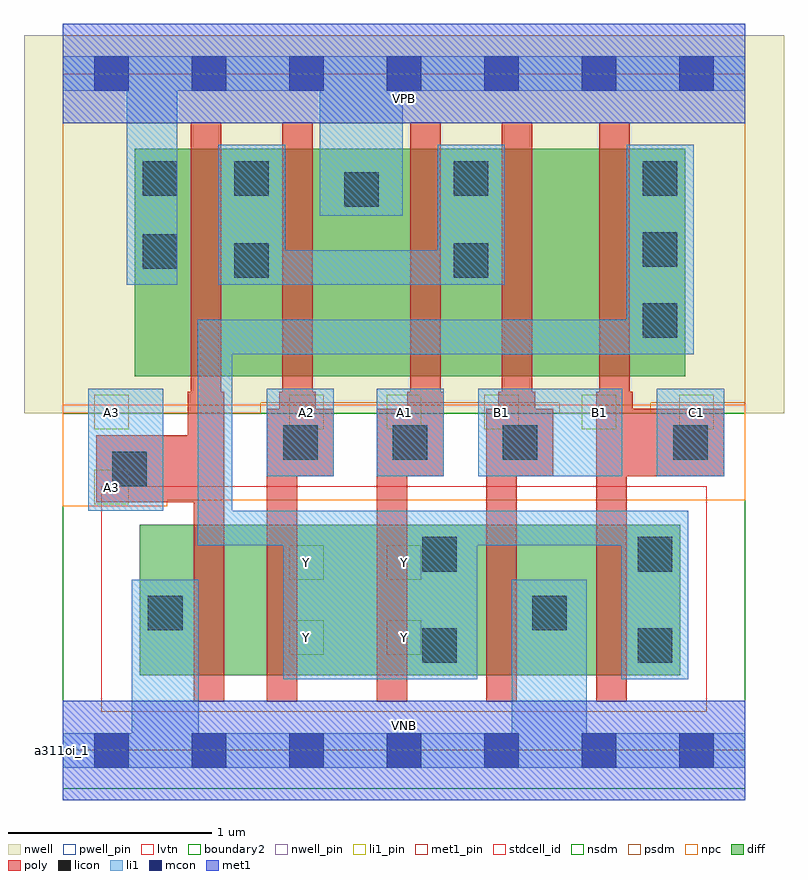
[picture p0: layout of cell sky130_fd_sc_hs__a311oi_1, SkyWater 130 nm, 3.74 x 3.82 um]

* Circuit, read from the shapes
.subckt sky130_fd_sc_hs__a311oi_1 A1 A2 A3 B1 C1 VGND VNB VPB VPWR Y
XM1 n1 A3 VGND VNB sky130_fd_pr__nfet_01v8_lvt w=0.74 l=0.15
XM2 n2 A2 n1 VNB sky130_fd_pr__nfet_01v8_lvt w=0.74 l=0.15
XM3 Y A1 n2 VNB sky130_fd_pr__nfet_01v8_lvt w=0.74 l=0.15
XM4 VGND B1 Y VNB sky130_fd_pr__nfet_01v8_lvt w=0.74 l=0.15
XM5 Y C1 VGND VNB sky130_fd_pr__nfet_01v8_lvt w=0.74 l=0.15
XM6 n3 A3 VPWR VPB sky130_fd_pr__pfet_01v8 w=1.12 l=0.15
XM7 VPWR A2 n3 VPB sky130_fd_pr__pfet_01v8 w=1.12 l=0.15
XM8 n3 A1 VPWR VPB sky130_fd_pr__pfet_01v8 w=1.12 l=0.15
XM9 n4 B1 n3 VPB sky130_fd_pr__pfet_01v8 w=1.12 l=0.15
XM10 Y C1 n4 VPB sky130_fd_pr__pfet_01v8 w=1.12 l=0.15
.ends

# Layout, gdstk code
import gdstk
lib = gdstk.Library(unit=1e-6, precision=1e-09)
def R(c, l, rs):  # rectangles x0, y0, x1, y1
    for r in rs: c.add(gdstk.rectangle(r[:2], r[2:], *l))
def A(c, l, x, y, w, h, nx, ny, dx, dy):  # array of equal rectangles
    R(c, l, [(x+i*dx, y+j*dy, x+i*dx+w, y+j*dy+h) for i in range(nx) for j in range(ny)])
def P(c, l, *ps):  # polygons
    for p in ps: c.add(gdstk.Polygon(p, *l))
nwell_pin = (64, 16)
nwell = (64, 20)
diff = (65, 20)
poly = (66, 20)
licon = (66, 44)
li1_pin = (67, 16)
li1 = (67, 20)
mcon = (67, 44)
met1_pin = (68, 16)
met1 = (68, 20)
stdcell_id = (81, 4)
nsdm = (93, 44)
psdm = (94, 20)
npc = (95, 20)
pwell_pin = (122, 16)
lvtn = (125, 44)
boundary2 = (236, 0)

sky130_fd_sc_hs__a311oi_ = lib.new_cell('sky130_fd_sc_hs__a311oi_1')
R(sky130_fd_sc_hs__a311oi_, nwell_pin, [(0,3.085,3.36,3.33)])
R(sky130_fd_sc_hs__a311oi_, nwell, [(-0.19,1.66,3.55,3.52)])
R(sky130_fd_sc_hs__a311oi_, diff, [(0.38,0.37,3.04,1.11), (0.355,1.84,3.065,2.96)])
P(sky130_fd_sc_hs__a311oi_, poly, [(1.335,1.68),(1.245,1.68),(1.245,1.765),(1.23,1.765),(1.23,3.09),(1.08,3.09),(1.08,1.765),(1.065,1.765),(1.065,1.68),(1.005,1.68),(1.005,0.24),(1.155,0.24),(1.155,1.35),(1.335,1.35)],
  [(1.875,1.765),(1.86,1.765),(1.86,3.09),(1.71,3.09),(1.71,1.765),(1.695,1.765),(1.695,1.68),(1.545,1.68),(1.545,0.24),(1.695,0.24),(1.695,1.35),(1.875,1.35)],
  [(2.415,1.68),(2.325,1.68),(2.325,1.765),(2.31,1.765),(2.31,3.09),(2.16,3.09),(2.16,1.765),(2.145,1.765),(2.145,1.68),(2.085,1.68),(2.085,0.24),(2.235,0.24),(2.235,1.35),(2.415,1.35)],
  [(3.255,1.68),(2.805,1.68),(2.805,1.765),(2.79,1.765),(2.79,3.09),(2.64,3.09),(2.64,1.765),(2.625,1.765),(2.625,0.24),(2.775,0.24),(2.775,1.35),(3.255,1.35)],
  [(0.795,1.765),(0.78,1.765),(0.78,3.09),(0.63,3.09),(0.63,1.765),(0.615,1.765),(0.615,1.55),(0.165,1.55),(0.165,1.22),(0.645,1.22),(0.645,0.24),(0.795,0.24)])
A(sky130_fd_sc_hs__a311oi_, licon, 1.085, 1.43, 0.17, 0.17, 3, 1, 0.54, 0)
A(sky130_fd_sc_hs__a311oi_, licon, 2.855, 2.03, 0.17, 0.17, 1, 3, 0, 0.35)
R(sky130_fd_sc_hs__a311oi_, licon, [(1.77,0.43,1.94,0.6), (2.83,0.43,3,0.6), (0.42,0.59,0.59,0.76), (2.31,0.59,2.48,0.76), (1.77,0.88,1.94,1.05), (2.83,0.88,3,1.05), (0.245,1.3,0.415,1.47), (3.005,1.43,3.175,1.6), (0.845,2.325,1.015,2.495), (1.925,2.325,2.095,2.495), (0.395,2.37,0.565,2.54), (1.385,2.675,1.555,2.845), (0.395,2.73,0.565,2.9), (0.845,2.73,1.015,2.9), (1.925,2.73,2.095,2.9)])
A(sky130_fd_sc_hs__a311oi_, li1_pin, 1.115, 1.58, 0.17, 0.17, 5, 1, 0.48, 0)
R(sky130_fd_sc_hs__a311oi_, li1_pin, [(1.115,0.47,1.285,0.64), (1.595,0.47,1.765,0.64), (1.115,0.84,1.285,1.01), (1.595,0.84,1.765,1.01), (0.155,1.21,0.325,1.38), (0.155,1.58,0.325,1.75)])
R(sky130_fd_sc_hs__a311oi_, li1, [(0.125,1.18,0.495,1.78), (1.005,1.35,1.335,1.78), (1.545,1.35,1.875,1.78), (2.045,1.35,2.755,1.78), (2.925,1.35,3.255,1.78)])
P(sky130_fd_sc_hs__a311oi_, li1, [(0.315,2.29),(0.315,3.245),(0,3.245),(0,3.415),(3.36,3.415),(3.36,3.245),(1.675,3.245),(1.675,2.63),(1.265,2.63),(1.265,3.245),(0.565,3.245),(0.565,2.29)],
  [(0.34,0.085),(0.34,0.84),(0.67,0.84),(0.67,0.085),(2.21,0.085),(2.21,0.84),(2.58,0.84),(2.58,0.085),(3.36,0.085),(3.36,-0.085),(0,-0.085),(0,0.085)],
  [(0.835,1.95),(0.835,1.18),(3.08,1.18),(3.08,0.35),(2.75,0.35),(2.75,1.01),(2.04,1.01),(2.04,0.35),(1.085,0.35),(1.085,1.01),(0.665,1.01),(0.665,2.12),(2.775,2.12),(2.775,2.98),(3.105,2.98),(3.105,1.95)],
  [(1.845,2.46),(1.845,2.98),(2.175,2.98),(2.175,2.29),(0.765,2.29),(0.765,2.98),(1.095,2.98),(1.095,2.46)])
A(sky130_fd_sc_hs__a311oi_, mcon, 0.155, -0.085, 0.17, 0.17, 7, 2, 0.48, 3.33)
R(sky130_fd_sc_hs__a311oi_, met1_pin, [(0,0,3.36,0.245), (0,3.085,3.36,3.33)])
R(sky130_fd_sc_hs__a311oi_, met1, [(0,-0.245,3.36,0.245), (0,3.085,3.36,3.575)])
R(sky130_fd_sc_hs__a311oi_, stdcell_id, [(0,0,3.36,3.33)])
R(sky130_fd_sc_hs__a311oi_, nsdm, [(0,-0.19,3.36,1.66)])
P(sky130_fd_sc_hs__a311oi_, psdm, [(3.36,3.52),(0,3.52),(0,1.66),(0.975,1.66),(0.975,1.71),(2.445,1.71),(2.445,1.66),(2.895,1.66),(2.895,1.71),(3.36,1.71)])
P(sky130_fd_sc_hs__a311oi_, npc, [(3.36,1.7),(0,1.7),(0,1.2),(0.515,1.2),(0.515,1.23),(3.36,1.23)])
R(sky130_fd_sc_hs__a311oi_, pwell_pin, [(0,0,3.36,0.245)])
R(sky130_fd_sc_hs__a311oi_, lvtn, [(0.19,0.19,3.17,1.3)])
R(sky130_fd_sc_hs__a311oi_, boundary2, [(0,0,3.36,3.33)])
sky130_fd_sc_hs__a311oi_.add(gdstk.Label('a311oi_1', (0,0), layer=83, texttype=44))
sky130_fd_sc_hs__a311oi_.add(gdstk.Label('VNB', (1.68,0.123), layer=64, texttype=59))
sky130_fd_sc_hs__a311oi_.add(gdstk.Label('VPB', (1.68,3.208), layer=64, texttype=5))
sky130_fd_sc_hs__a311oi_.add(gdstk.Label('VPWR', (1.68,3.208), layer=68, texttype=5))
sky130_fd_sc_hs__a311oi_.add(gdstk.Label('VGND', (1.68,0.123), layer=68, texttype=5))
sky130_fd_sc_hs__a311oi_.add(gdstk.Label('C1', (3.12,1.665), layer=67, texttype=5))
sky130_fd_sc_hs__a311oi_.add(gdstk.Label('B1', (2.16,1.665), layer=67, texttype=5))
sky130_fd_sc_hs__a311oi_.add(gdstk.Label('B1', (2.64,1.665), layer=67, texttype=5))
sky130_fd_sc_hs__a311oi_.add(gdstk.Label('A3', (0.24,1.295), layer=67, texttype=5))
sky130_fd_sc_hs__a311oi_.add(gdstk.Label('A3', (0.24,1.665), layer=67, texttype=5))
sky130_fd_sc_hs__a311oi_.add(gdstk.Label('A2', (1.2,1.665), layer=67, texttype=5))
sky130_fd_sc_hs__a311oi_.add(gdstk.Label('A1', (1.68,1.665), layer=67, texttype=5))
sky130_fd_sc_hs__a311oi_.add(gdstk.Label('Y', (1.2,0.555), layer=67, texttype=5))
sky130_fd_sc_hs__a311oi_.add(gdstk.Label('Y', (1.2,0.925), layer=67, texttype=5))
sky130_fd_sc_hs__a311oi_.add(gdstk.Label('Y', (1.68,0.555), layer=67, texttype=5))
sky130_fd_sc_hs__a311oi_.add(gdstk.Label('Y', (1.68,0.925), layer=67, texttype=5))

lib.write_gds('sky130_fd_sc_hs__a311oi_1.gds')
